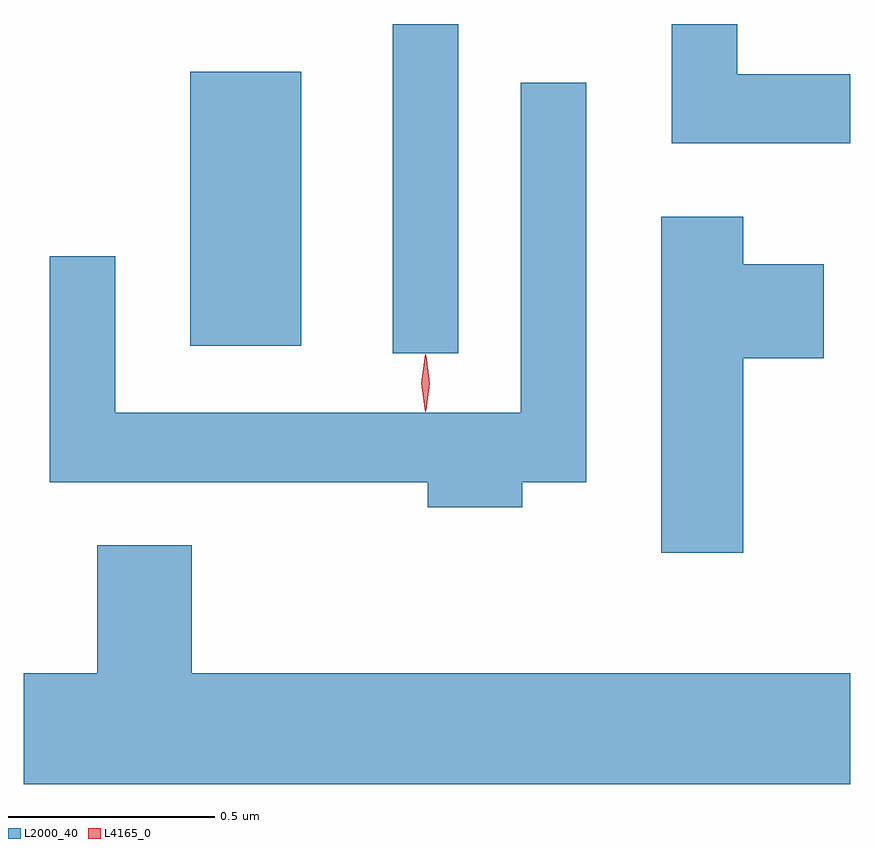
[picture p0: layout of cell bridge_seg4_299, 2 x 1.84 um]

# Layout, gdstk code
import gdstk
lib = gdstk.Library(unit=1e-6, precision=1e-09)
def R(c, l, rs):  # rectangles x0, y0, x1, y1
    for r in rs: c.add(gdstk.rectangle(r[:2], r[2:], *l))
def P(c, l, *ps):  # polygons
    for p in ps: c.add(gdstk.Polygon(p, *l))
L2000_40 = (2000, 40)
L4165_0 = (4165, 0)

bridge_seg4_299 = lib.new_cell('bridge_seg4_299')
R(bridge_seg4_299, L2000_40, [(538.396,1304.658,538.554,1305.455), (537.906,1304.676,538.174,1305.339)])
P(bridge_seg4_299, L2000_40, [(539.503,1305.334),(539.229,1305.334),(539.229,1305.455),(539.071,1305.455),(539.071,1305.166),(539.503,1305.166)],
  [(538.709,1304.346),(538.864,1304.346),(538.864,1305.313),(538.706,1305.313),(538.706,1304.514),(537.724,1304.514),(537.724,1304.893),(537.566,1304.893),(537.566,1304.346),(538.481,1304.346),(538.481,1304.286),(538.709,1304.286)],
  [(539.244,1304.646),(539.439,1304.646),(539.439,1304.874),(539.244,1304.874),(539.244,1304.989),(539.046,1304.989),(539.046,1304.176),(539.244,1304.176)],
  [(539.503,1303.884),(537.909,1303.884),(537.909,1304.194),(537.681,1304.194),(537.681,1303.884),(537.503,1303.884),(537.503,1303.616),(539.503,1303.616)])
P(bridge_seg4_299, L4165_0, [(538.474,1304.517),(538.465,1304.586),(538.474,1304.656),(538.475,1304.656),(538.476,1304.656),(538.485,1304.586),(538.476,1304.517),(538.475,1304.517)],
  [(538.476,1304.52),(538.466,1304.586),(538.476,1304.652),(538.476,1304.653),(538.477,1304.652),(538.486,1304.586),(538.477,1304.52),(538.477,1304.52)])

lib.write_gds('bridge_seg4_299.gds')
